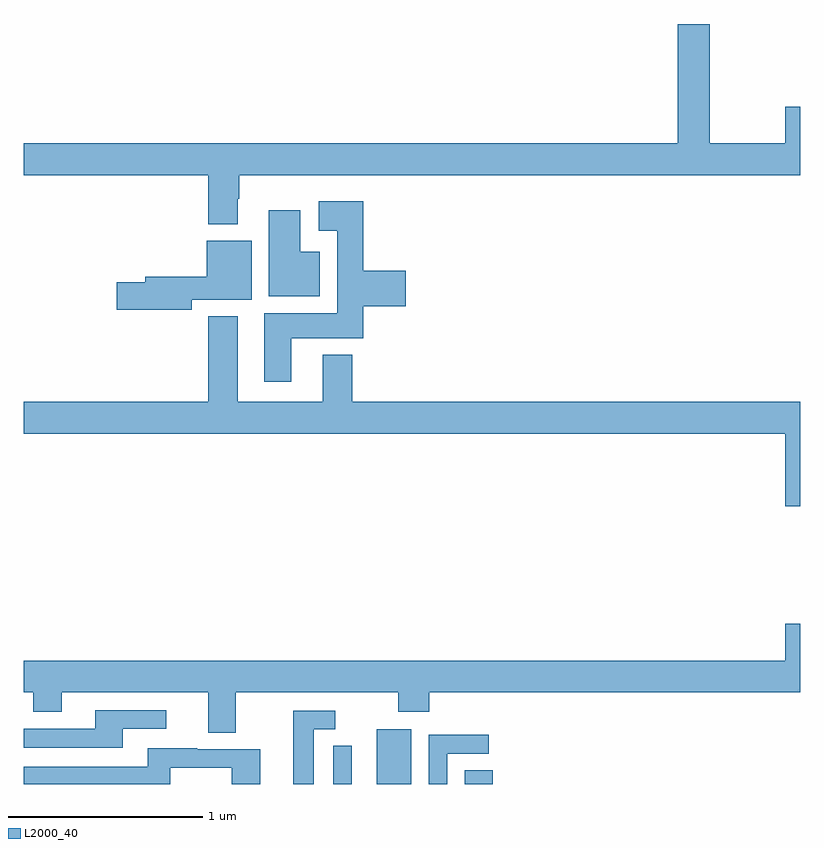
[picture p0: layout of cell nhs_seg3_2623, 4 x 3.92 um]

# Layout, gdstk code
import gdstk
lib = gdstk.Library(unit=1e-6, precision=1e-09)
def R(c, l, rs):  # rectangles x0, y0, x1, y1
    for r in rs: c.add(gdstk.rectangle(r[:2], r[2:], *l))
def P(c, l, *ps):  # polygons
    for p in ps: c.add(gdstk.Polygon(p, *l))
L2000_40 = (2000, 40)

nhs_seg3_2623 = lib.new_cell('nhs_seg3_2623')
R(nhs_seg3_2623, L2000_40, [(246.818,744.4,246.997,744.682), (247.271,744.4,247.415,744.47)])
P(nhs_seg3_2623, L2000_40, [(246.103,747.416),(246.111,747.416),(246.111,747.536),(249,747.536),(249,747.889),(248.924,747.889),(248.924,747.7),(248.533,747.7),(248.533,748.315),(248.369,748.315),(248.369,747.7),(245,747.7),(245,747.536),(245.951,747.536),(245.951,747.284),(246.103,747.284)],
  [(246.379,746.696),(246.749,746.696),(246.749,746.861),(246.967,746.861),(246.967,747.044),(246.749,747.044),(246.749,747.403),(246.519,747.403),(246.519,747.251),(246.614,747.251),(246.614,746.824),(246.239,746.824),(246.239,746.472),(246.379,746.472)],
  [(246.526,747.142),(246.424,747.142),(246.424,747.355),(246.263,747.355),(246.263,746.912),(246.526,746.912)],
  [(245.866,746.894),(246.175,746.894),(246.175,747.199),(245.942,747.199),(245.942,747.014),(245.627,747.014),(245.627,746.984),(245.478,746.984),(245.478,746.842),(245.866,746.842)],
  [(249,746.368),(246.692,746.368),(246.692,746.611),(246.539,746.611),(246.539,746.368),(246.103,746.368),(246.103,746.809),(245.951,746.809),(245.951,746.368),(245,746.368),(245,746.204),(248.924,746.204),(248.924,745.83),(249,745.83)],
  [(246.091,744.872),(246.928,744.872),(246.928,744.773),(247.088,744.773),(247.088,744.872),(249,744.872),(249,745.225),(248.924,745.225),(248.924,745.036),(245,745.036),(245,744.872),(245.05,744.872),(245.05,744.773),(245.197,744.773),(245.197,744.872),(245.951,744.872),(245.951,744.664),(246.091,744.664)],
  [(245.509,744.684),(245.734,744.684),(245.734,744.78),(245.369,744.78),(245.369,744.684),(245,744.684),(245,744.588),(245.509,744.588)],
  [(246.493,744.681),(246.604,744.681),(246.604,744.777),(246.389,744.777),(246.389,744.4),(246.493,744.4)],
  [(247.182,744.555),(247.396,744.555),(247.396,744.654),(247.086,744.654),(247.086,744.4),(247.182,744.4)],
  [(246.689,744.442),(246.69,744.442),(246.69,744.596),(246.594,744.596),(246.594,744.4),(246.689,744.4)],
  [(245.754,744.483),(246.072,744.483),(246.072,744.4),(246.217,744.4),(246.217,744.579),(245.893,744.579),(245.893,744.583),(245.639,744.583),(245.639,744.489),(245,744.489),(245,744.4),(245.754,744.4)])

lib.write_gds('nhs_seg3_2623.gds')
